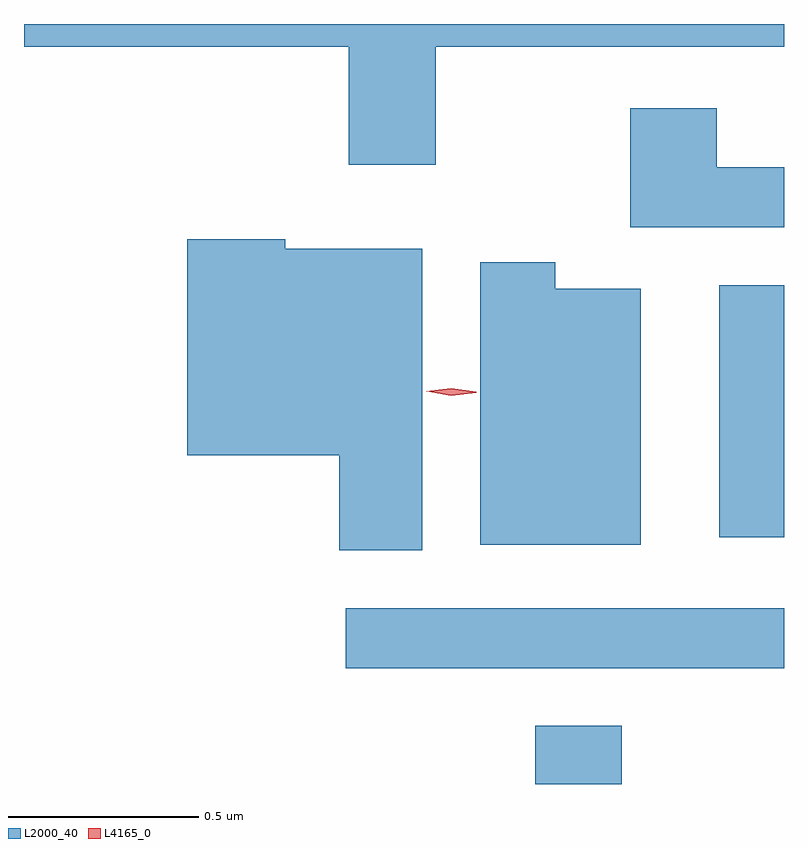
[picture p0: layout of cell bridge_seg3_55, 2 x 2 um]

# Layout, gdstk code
import gdstk
lib = gdstk.Library(unit=1e-6, precision=1e-09)
def R(c, l, rs):  # rectangles x0, y0, x1, y1
    for r in rs: c.add(gdstk.rectangle(r[:2], r[2:], *l))
def P(c, l, *ps):  # polygons
    for p in ps: c.add(gdstk.Polygon(p, *l))
L2000_40 = (2000, 40)
L4165_0 = (4165, 0)

bridge_seg3_55 = lib.new_cell('bridge_seg3_55')
R(bridge_seg3_55, L2000_40, [(1167.821,1215.096,1168.049,1215.249), (1167.323,1215.401,1168.476,1215.559), (1168.306,1215.746,1168.476,1216.409)])
P(bridge_seg3_55, L2000_40, [(1167.559,1217.036),(1168.476,1217.036),(1168.476,1217.096),(1166.476,1217.096),(1166.476,1217.036),(1167.331,1217.036),(1167.331,1216.726),(1167.559,1216.726)],
  [(1168.476,1216.719),(1168.299,1216.719),(1168.299,1216.874),(1168.071,1216.874),(1168.071,1216.561),(1168.476,1216.561)],
  [(1167.524,1216.504),(1167.164,1216.504),(1167.164,1216.529),(1166.906,1216.529),(1166.906,1215.961),(1167.306,1215.961),(1167.306,1215.711),(1167.524,1215.711)],
  [(1168.099,1216.399),(1167.874,1216.399),(1167.874,1216.469),(1167.676,1216.469),(1167.676,1215.726),(1168.099,1215.726)])
P(bridge_seg3_55, L4165_0, [(1167.6,1216.118),(1167.534,1216.129),(1167.533,1216.129),(1167.534,1216.13),(1167.6,1216.138),(1167.666,1216.128),(1167.666,1216.127),(1167.666,1216.126)])

lib.write_gds('bridge_seg3_55.gds')
